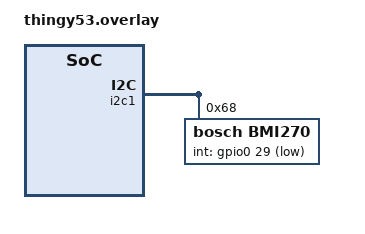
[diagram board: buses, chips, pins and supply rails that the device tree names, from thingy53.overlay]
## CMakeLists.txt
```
cmake_minimum_required(VERSION 3.20.0)
project(imu_udp_thingy53)
find_package(Zephyr REQUIRED HINTS $ENV{ZEPHYR_BASE})
target_sources(app PRIVATE src/main.c)
```

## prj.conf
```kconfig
# Zephyr & Thingy53 base
CONFIG_BT=n
CONFIG_SERIAL=n
CONFIG_GPIO=y

# BMI270 driver
CONFIG_I2C=y
CONFIG_SENSOR=y
CONFIG_BMI270=y

# OpenThread (Mesh/UDP)
CONFIG_NET_L2_OPENTHREAD=y
CONFIG_OPENTHREAD_THREAD_VERSION_1_2=y
CONFIG_OPENTHREAD_MTD=y
CONFIG_OPENTHREAD_NORDIC_LIBRARY=y

CONFIG_NET_IPV6=y
CONFIG_NET_UDP=y
CONFIG_NET_SOCKETS=y
CONFIG_NET_LOG=y

# Networking
CONFIG_NET_CONFIG_SETTINGS=y
CONFIG_NET_CONFIG_NEED_IPV6=y

# Logging
CONFIG_LOG=y
CONFIG_LOG_DEFAULT_LEVEL=3
```

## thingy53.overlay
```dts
&i2c1 {
    status = "okay";
    bmi270@68 {
        compatible = "bosch,bmi270";
        reg = <0x68>;
        label = "BMI270";
        int-gpios = <&gpio0 29 GPIO_ACTIVE_LOW>;
    };
};
```

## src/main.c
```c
#include <zephyr/kernel.h>
#include <zephyr/device.h>
#include <zephyr/devicetree.h>
#include <zephyr/drivers/sensor.h>
#include <zephyr/logging/log.h>
#include <zephyr/net/socket.h>
#include <zephyr/net/net_ip.h>
#include <zephyr/net/openthread.h>
#include <openthread/thread.h>
#include <openthread/instance.h>
#include <zephyr/net/net_if.h>

LOG_MODULE_REGISTER(main);

#define BMI270 DT_LABEL(DT_NODELABEL(bmi270))
#define SEND_INTERVAL_MS 1000
#define UDP_PORT 4242
#define PEER_IPV6 "fdde:ad00:beef:0:0:ff:fe00:fc01" // Adresse Thread cible (à modifier si besoin)

static const struct device *bmi270_dev;

static int sock = -1;
static struct sockaddr_in6 peer_addr;

void send_imu_udp(const struct sensor_value *accel, const struct sensor_value *gyro, char *out_payload, size_t out_size)
{
    int len = snprintk(out_payload, out_size,
        "{\"accel\":[%.3f,%.3f,%.3f],\"gyro\":[%.3f,%.3f,%.3f]}",
        sensor_value_to_double(&accel[0]), sensor_value_to_double(&accel[1]), sensor_value_to_double(&accel[2]),
        sensor_value_to_double(&gyro[0]), sensor_value_to_double(&gyro[1]), sensor_value_to_double(&gyro[2]));

    int ret = sendto(sock, out_payload, len, 0, (struct sockaddr *)&peer_addr, sizeof(peer_addr));
    if (ret < 0) {
        LOG_ERR("UDP send failed: %d", errno);
    }
}

void main(void)
{
    int ret;
    struct sensor_value accel[3], gyro[3];
    int send_count = 0;
    char payload[64];

    LOG_INF("Starting Thingy:53 IMU UDP project");

    bmi270_dev = DEVICE_DT_GET_ONE(bosch_bmi270);
    if (!device_is_ready(bmi270_dev)) {
        LOG_ERR("BMI270 not ready");
        return;
    }

    // Attendre que Thread soit up
    struct net_if *iface = net_if_get_default();
    while (!net_if_is_up(iface)) {
        k_msleep(100);
    }
    LOG_INF("Network interface is up");

    // UDP socket setup
    sock = socket(AF_INET6, SOCK_DGRAM, IPPROTO_UDP);
    if (sock < 0) {
        LOG_ERR("Socket error %d", errno);
        return;
    }

    memset(&peer_addr, 0, sizeof(peer_addr));
    peer_addr.sin6_family = AF_INET6;
    peer_addr.sin6_port = htons(UDP_PORT);
    inet_pton(AF_INET6, PEER_IPV6, &peer_addr.sin6_addr);

    while (1) {
        ret = sensor_sample_fetch(bmi270_dev);
        if (ret < 0) {
            LOG_ERR("Sensor fetch error: %d", ret);
            k_msleep(SEND_INTERVAL_MS);
            continue;
        }
        ret = sensor_channel_get(bmi270_dev, SENSOR_CHAN_ACCEL_XYZ, accel);
        if (ret < 0) {
            LOG_ERR("Accel read error: %d", ret);
            k_msleep(SEND_INTERVAL_MS);
            continue;
        }
        ret = sensor_channel_get(bmi270_dev, SENSOR_CHAN_GYRO_XYZ, gyro);
        if (ret < 0) {
            LOG_ERR("Gyro read error: %d", ret);
            k_msleep(SEND_INTERVAL_MS);
            continue;
        }

        send_imu_udp(accel, gyro, payload, sizeof(payload));

        send_count++;
        if (send_count % 4 == 0) {
            // Affiche toutes les 4 secondes ce qui est envoyé
            printk("Sent (every 4s): %s\n", payload);
        }

        k_msleep(SEND_INTERVAL_MS);
    }
}
```
